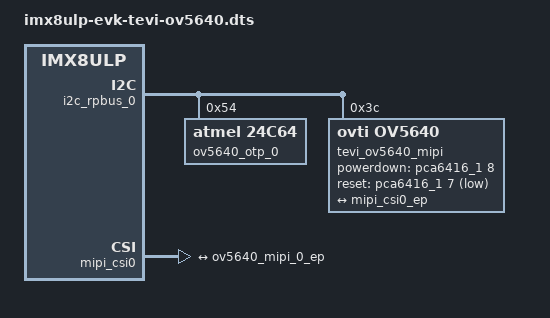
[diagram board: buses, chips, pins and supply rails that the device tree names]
// SPDX-License-Identifier: (GPL-2.0+ OR MIT)
/*
 * Copyright 2021 Technexion Ltd.
 *
 * This program is free software; you can redistribute it and/or
 * modify it under the terms of the GNU General Public License
 * as published by the Free Software Foundation; either version 2
 * of the License, or (at your option) any later version.
 *
 * This program is distributed in the hope that it will be useful,
 * but WITHOUT ANY WARRANTY; without even the implied warranty of
 * MERCHANTABILITY or FITNESS FOR A PARTICULAR PURPOSE.  See the
 * GNU General Public License for more details.
 */

#include "imx8ulp-evk.dts"

&i2c_rpbus_0 {
	/delete-node/ ov5640_mipi@3c;

	ov5640_otp_0: eeprom@54 {
		compatible = "atmel,24c64";
		pagesize = <128>;
		reg = <0x54>;
		//read-only;
	};

	tevi_ov5640_mipi@3c {
		compatible = "ovti,ov5640";
		reg = <0x3c>;
		clocks = <&cgc2 IMX8ULP_CLK_DSI_PHY_REF>;
		clock-names = "xclk";

		powerdown-gpios = <&pca6416_1 8 GPIO_ACTIVE_HIGH>;
		reset-gpios = <&pca6416_1 7 GPIO_ACTIVE_LOW>;
		nvmem = <&ov5640_otp_0>;
		nvmem-names = "calib-data";
		status = "okay";

		port {
			ov5640_mipi_0_ep: endpoint {
				remote-endpoint = <&mipi_csi0_ep>;
				data-lanes = <1 2>;
				clock-lanes = <0>;
			};
		};
	};
};

&mipi_csi0 {
	#address-cells = <1>;
	#size-cells = <0>;
	status = "okay";

	port@0 {
		reg = <0>;
		mipi_csi0_ep: endpoint {
			remote-endpoint = <&ov5640_mipi_0_ep>;
			data-lanes = <1 2>;
			bus-type = <4>;
		};
	};
};
